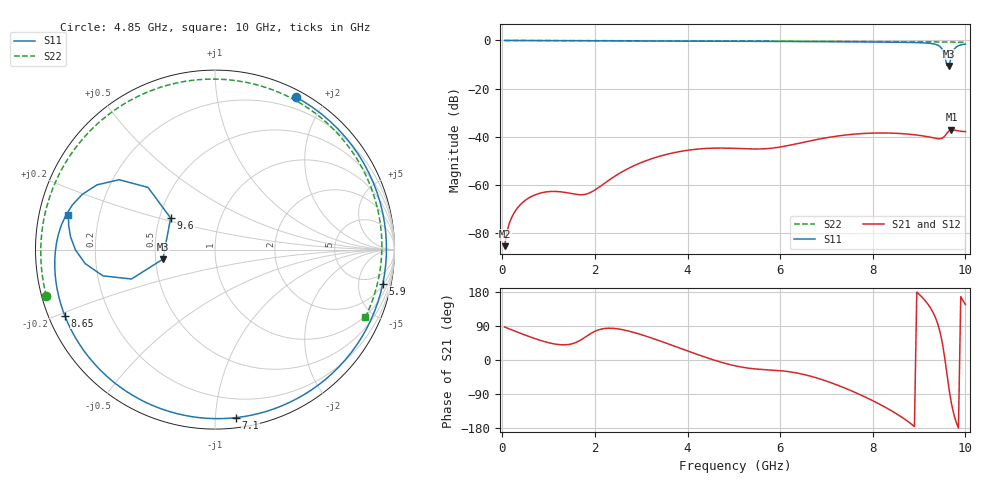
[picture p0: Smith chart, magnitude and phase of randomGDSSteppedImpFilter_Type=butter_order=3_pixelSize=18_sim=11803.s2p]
! freq	dB(S11)	phase(S11)	dB(S12)	phase(S12)
!  dB(S21)	phase(S21)	dB(S22)	phase(S22)
!S-par simulation data
#  GHz  S  DB  R 50
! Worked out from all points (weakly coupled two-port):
!   200 points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, 50 MHz to 10 GHz, reference 50 ohm
!   highest |S21| = -37.17 dB at 9.7 GHz (marker M1); lowest = -85.6 dB at 50 MHz (marker M2)
!   lowest |S11| = -10.6 dB at 9.65 GHz (marker M3), VSWR 1.84, Z = 27.4 - j3.2 ohm
!   |S11| at or under -10 dB: 9.596 GHz to 9.657 GHz (60.75 MHz wide, 0.631 % of centre)
!   |S22| runs from -0.7 to 0.0 dB; largest |S21 - S12| = 0
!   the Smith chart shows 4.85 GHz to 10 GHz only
!   S11 on the Smith chart (normalised r, x): 4.85 GHz: 0.07, +1.66; 5.9 GHz: 2.21, -9.40; 7.1 GHz: 0.07, -1.13; 8.65 GHz: 0.05, -0.21; 9.6 GHz: 0.57, +0.22; 10 GHz: 0.09, +0.12
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0.05  -0.01 -3.3  -85.60 87.2  -85.60 87.2  -0.01 -1.9
0.3  -0.03 -19.7  -70.41 74.9  -70.41 74.9  -0.01 -11.2
0.65  -0.05 -42.2  -64.74 58.8  -64.74 58.8  -0.03 -24.2
1.2  -0.09 -76.4  -62.88 41.0  -62.88 41.0  -0.05 -44.2
1.75  -0.13 -108.9  -64.15 57.0  -64.15 57.0  -0.08 -63.6
2.6  -0.17 -156.9  -54.52 79.9  -54.52 79.9  -0.11 -92.4
3.4  -0.22 157.2  -48.17 50.5  -48.17 50.5  -0.15 -118.4
4.2  -0.29 107.0  -45.24 15.2  -45.24 15.2  -0.19 -143.8
4.85  -0.34 62.2  -44.81 -10.1  -44.81 -10.1  -0.23 -164.5
5.05  -0.35 47.9  -44.94 -15.9  -44.94 -15.9  -0.24 -171.0
5.9  -0.41 -11.5  -44.63 -27.3  -44.63 -27.3  -0.30 160.2
6.7  -0.47 -61.0  -41.58 -44.1  -41.58 -44.1  -0.37 130.6
7.1  -0.51 -82.8  -40.17 -60.0  -40.17 -60.0  -0.40 114.6
8.35  -0.70 -142.4  -38.53 -130.2  -38.53 -130.2  -0.50 58.5
8.65  -0.78 -156.2  -38.80 -152.8  -38.80 -152.8  -0.53 43.9
9.3  -1.38 167.1  -40.48 125.9  -40.48 125.9  -0.60 11.3
9.5  -3.59 143.9  -40.69 46.5  -40.69 46.5  -0.63 1.1
9.6  -10.37 144.6  -38.59 -35.4  -38.59 -35.4  -0.65 -4.0
9.65  -10.59 -169.6  -37.53 -79.3  -37.53 -79.3  -0.66 -6.6
9.7  -6.14 -160.6  -37.17 -115.8  -37.17 -115.8  -0.67 -9.1
9.8  -2.76 -173.8  -37.45 -163.8  -37.45 -163.8  -0.69 -14.2
10  -1.52 166.6  -37.91 146.5  -37.91 146.5  -0.74 -24.3
